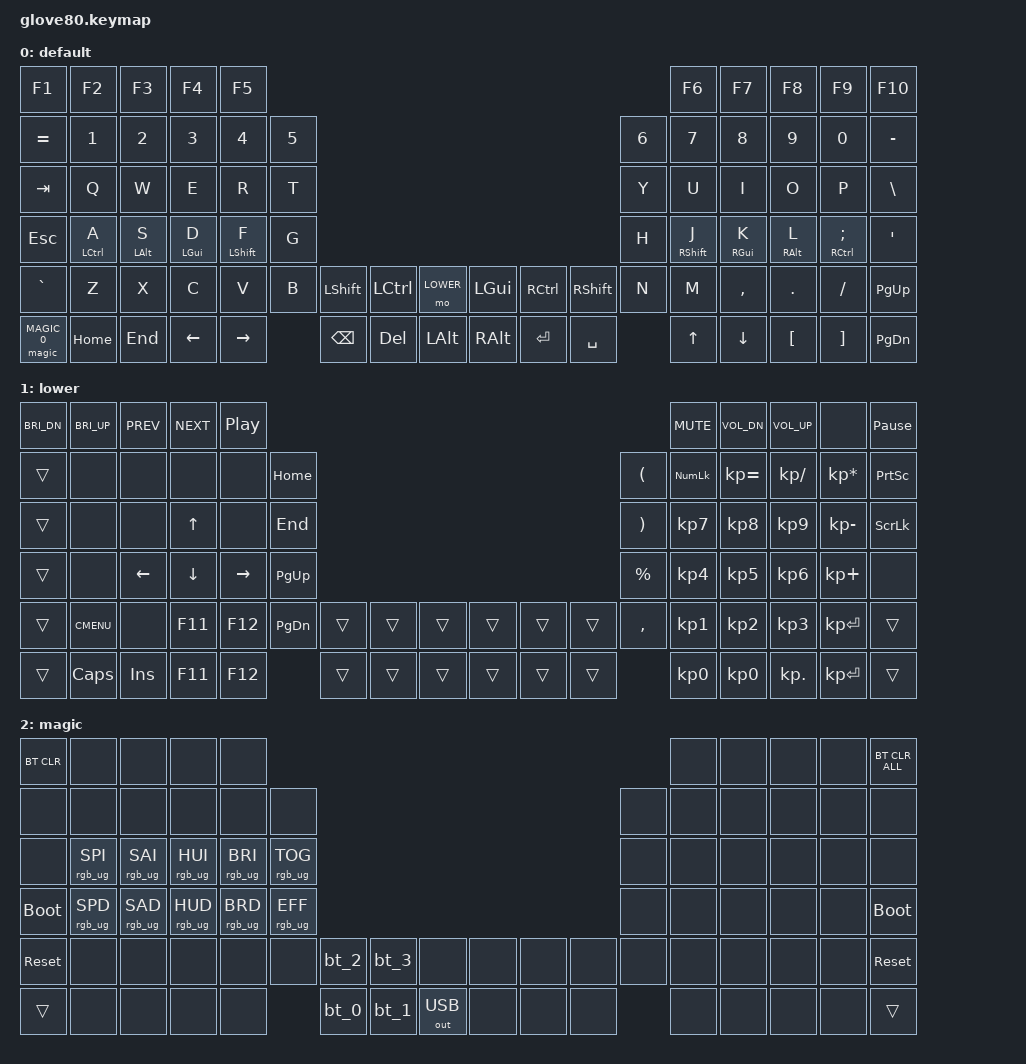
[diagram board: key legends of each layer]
#include "glove80_behaviors.dtsi"

// Make sure that there are no other imports, otherwise the config will be overwritten (e.g., behavior reconfigurations
/ {
  keymap {
    compatible = "zmk,keymap";

    default {
      bindings = <
        &kp F1           &kp F2         &kp F3        &kp F4        &kp F5                                                                                                   &kp F6          &kp F7        &kp F8        &kp F9            &kp F10
        &kp EQUAL        &kp N1         &kp N2        &kp N3        &kp N4          &kp N5                                                                          &kp N6   &kp N7          &kp N8        &kp N9        &kp N0            &kp MINUS
        &kp TAB          &kp Q          &kp W         &kp E         &kp R           &kp T                                                                           &kp Y    &kp U           &kp I         &kp O         &kp P             &kp BSLH
        &kp ESC          &hml LCTRL A   &hml LALT S   &hml LGUI D   &hml LSHIFT F   &kp G                                                                           &kp H    &hmr RSHIFT J   &hmr RGUI K   &hmr RALT L   &hmr RCTRL SEMI   &kp SQT
        &kp GRAVE        &kp Z          &kp X         &kp C         &kp V           &kp B    &kp LSHFT   &kp LCTRL   &mo LOWER   &kp LGUI   &kp RCTRL   &kp RSHFT   &kp N    &kp M           &kp COMMA     &kp DOT       &kp FSLH          &kp PG_UP
        &magic MAGIC 0   &kp HOME       &kp END       &kp LEFT      &kp RIGHT                &kp BSPC    &kp DEL     &kp LALT    &kp RALT   &kp RET     &kp SPACE            &kp UP          &kp DOWN      &kp LBKT      &kp RBKT          &kp PG_DN
      >;
    };
    lower {
      bindings = <
        &kp C_BRI_DN   &kp C_BRI_UP   &kp C_PREV   &kp C_NEXT   &kp C_PP                                                                                  &kp C_MUTE   &kp C_VOL_DN   &kp C_VOL_UP    &none             &kp PAUSE_BREAK
        &trans         &none          &none        &none        &none       &kp HOME                                                          &kp LPAR    &kp KP_NUM   &kp KP_EQUAL   &kp KP_DIVIDE   &kp KP_MULTIPLY   &kp PSCRN
        &trans         &none          &none        &kp UP       &none       &kp END                                                           &kp RPAR    &kp KP_N7    &kp KP_N8      &kp KP_N9       &kp KP_MINUS      &kp SLCK
        &trans         &none          &kp LEFT     &kp DOWN     &kp RIGHT   &kp PG_UP                                                         &kp PRCNT   &kp KP_N4    &kp KP_N5      &kp KP_N6       &kp KP_PLUS       &none
        &trans         &kp K_CMENU    &none        &kp F11      &kp F12     &kp PG_DN   &trans   &trans   &trans   &trans   &trans   &trans   &kp COMMA   &kp KP_N1    &kp KP_N2      &kp KP_N3       &kp KP_ENTER      &trans
        &trans         &kp CAPS       &kp INS      &kp F11      &kp F12                 &trans   &trans   &trans   &trans   &trans   &trans               &kp KP_N0    &kp KP_N0      &kp KP_DOT      &kp KP_ENTER      &trans
      >;
    };
    magic {
      bindings = <
        &bt BT_CLR    &none             &none             &none             &none                                                                                              &none   &none   &none   &none   &bt BT_CLR_ALL
        &none         &none             &none             &none             &none             &none                                                                    &none   &none   &none   &none   &none   &none
        &none         &rgb_ug RGB_SPI   &rgb_ug RGB_SAI   &rgb_ug RGB_HUI   &rgb_ug RGB_BRI   &rgb_ug RGB_TOG                                                          &none   &none   &none   &none   &none   &none
        &bootloader   &rgb_ug RGB_SPD   &rgb_ug RGB_SAD   &rgb_ug RGB_HUD   &rgb_ug RGB_BRD   &rgb_ug RGB_EFF                                                          &none   &none   &none   &none   &none   &bootloader
        &sys_reset    &none             &none             &none             &none             &none             &bt_2   &bt_3   &none          &none   &none   &none   &none   &none   &none   &none   &none   &sys_reset
        &trans        &none             &none             &none             &none                               &bt_0   &bt_1   &out OUT_USB   &none   &none   &none           &none   &none   &none   &none   &trans
      >;
    };
  };
};
